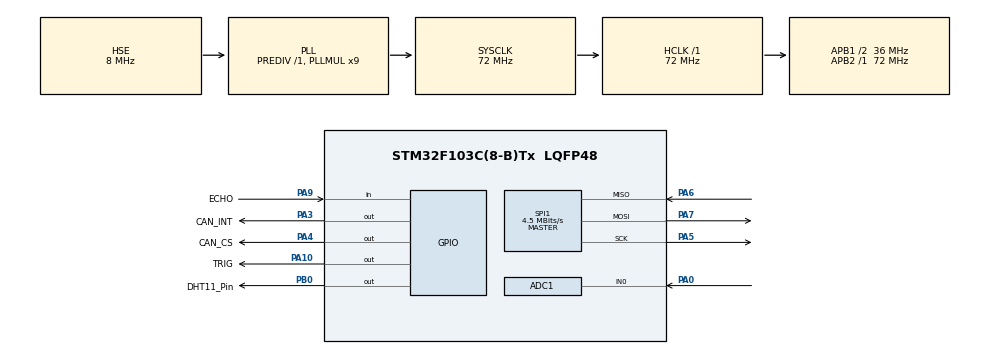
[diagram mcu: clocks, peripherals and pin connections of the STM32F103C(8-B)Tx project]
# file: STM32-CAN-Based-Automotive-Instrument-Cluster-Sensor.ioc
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ADC1.Channel-0\#ChannelRegularConversion=ADC_CHANNEL_0
ADC1.NbrOfConversionFlag=1
ADC1.Rank-0\#ChannelRegularConversion=1
ADC1.SamplingTime-0\#ChannelRegularConversion=ADC_SAMPLETIME_1CYCLE_5
ADC1.master=1
Mcu.Family=STM32F1
Mcu.Name=STM32F103C(8-B)Tx
Mcu.Package=LQFP48
NVIC.PriorityGroup=NVIC_PRIORITYGROUP_4
PA0-WKUP.Signal=ADCx_IN0
PA10.GPIO_Label=TRIG
PA10.Signal=GPIO_Output
PA13.Mode=Serial_Wire
PA13.Signal=SYS_JTMS-SWDIO
PA14.Mode=Serial_Wire
PA14.Signal=SYS_JTCK-SWCLK
PA3.GPIO_Label=CAN_INT
PA3.GPIO_PuPd=GPIO_PULLUP
PA3.Signal=GPIO_Output
PA4.GPIO_Label=CAN_CS
PA4.GPIO_Speed=GPIO_SPEED_FREQ_HIGH
PA4.Signal=GPIO_Output
PA5.Mode=Full_Duplex_Master
PA5.Signal=SPI1_SCK
PA6.Mode=Full_Duplex_Master
PA6.Signal=SPI1_MISO
PA7.Mode=Full_Duplex_Master
PA7.Signal=SPI1_MOSI
PA9.GPIO_Label=ECHO
PA9.Signal=GPIO_Input
PB0.GPIO_Label=DHT11_Pin
PB0.Signal=GPIO_Output
PD0-OSC_IN.Mode=HSE-External-Oscillator
PD0-OSC_IN.Signal=RCC_OSC_IN
PD1-OSC_OUT.Mode=HSE-External-Oscillator
PD1-OSC_OUT.Signal=RCC_OSC_OUT
ProjectManager.HeapSize=0x200
ProjectManager.StackSize=0x400
ProjectManager.TargetToolchain=STM32CubeIDE
RCC.AHBFreq_Value=72000000
RCC.APB1CLKDivider=RCC_HCLK_DIV2
RCC.APB1Freq_Value=36000000
RCC.APB1TimFreq_Value=72000000
RCC.APB2Freq_Value=72000000
RCC.APB2TimFreq_Value=72000000
RCC.HCLKFreq_Value=72000000
RCC.PLLMUL=RCC_PLL_MUL9
RCC.PLLSourceVirtual=RCC_PLLSOURCE_HSE
RCC.SYSCLKFreq_VALUE=72000000
RCC.SYSCLKSource=RCC_SYSCLKSOURCE_PLLCLK
RCC.USBFreq_Value=72000000
SH.ADCx_IN0.0=ADC1_IN0,IN0
SPI1.BaudRatePrescaler=SPI_BAUDRATEPRESCALER_16
SPI1.CalculateBaudRate=4.5 MBits/s
SPI1.Direction=SPI_DIRECTION_2LINES
SPI1.Mode=SPI_MODE_MASTER
SPI1.VirtualType=VM_MASTER
TIM1.Prescaler=71
VP_TIM1_VS_ClockSourceINT.Mode=Internal
board=custom

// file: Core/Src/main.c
/* USER CODE BEGIN Header */
/**
  ******************************************************************************
  * @file           : main.c
  * @brief          : Main program body
  ******************************************************************************
  * @attention
  *
  * Copyright (c) 2026 STMicroelectronics.
  * All rights reserved.
  *
  * This software is licensed under terms that can be found in the LICENSE file
  * in the root directory of this software component.
  * If no LICENSE file comes with this software, it is provided AS-IS.
  *
  ******************************************************************************
  */
/* USER CODE END Header */
#include "main.h"
#include "adc.h"
#include "spi.h"
#include "tim.h"
#include "gpio.h"

/* USER CODE BEGIN Includes */
#include "mcp2515.h"
#include "dht11.h"
#include "hcsr04.h"
#include "adc.h"
/* USER CODE END Includes */

/* USER CODE BEGIN PV */
uint16_t simSpeed = 0;  // giữ giả lập tạm cho speed
uint32_t lastDHTReadTime = 0;
volatile uint32_t adc_debug = 0;
volatile uint16_t speed_debug = 0;

/* USER CODE END PV */

void SystemClock_Config(void);
/* USER CODE BEGIN PFP */
void DWT_Delay_Init(void);
void DWT_Delay_us(uint32_t us);
uint16_t ReadPotentiometer_Speed(void);
/* USER CODE END PFP */

int main(void)
{

  /* MCU Configuration--------------------------------------------------------*/

  /* Reset of all peripherals, Initializes the Flash interface and the Systick. */
  HAL_Init();

  /* Configure the system clock */
  SystemClock_Config();

  /* Initialize all configured peripherals */
  MX_GPIO_Init();
  MX_SPI1_Init();
  MX_TIM1_Init();
  MX_ADC1_Init();
  /* USER CODE BEGIN 2 */
  DWT_Delay_Init();
  __HAL_RCC_GPIOC_CLK_ENABLE();
  GPIO_InitTypeDef gpioLed = {0};
  gpioLed.Pin = GPIO_PIN_13;
  gpioLed.Mode = GPIO_MODE_OUTPUT_PP;
  gpioLed.Pull = GPIO_NOPULL;
  gpioLed.Speed = GPIO_SPEED_FREQ_LOW;
  HAL_GPIO_Init(GPIOC, &gpioLed);

  HAL_Delay(300); // giữ sáng rõ 500ms để bạn chắc chắn quan sát được

  MCP2515_t canDev;
  canDev.hspi = &hspi1;
  canDev.cs_port = CAN_CS_GPIO_Port;
  canDev.cs_pin = CAN_CS_Pin;
  MCP2515_Init(&canDev);

  HAL_ADCEx_Calibration_Start(&hadc1);
  HAL_ADC_Start(&hadc1);

  CAN_Frame_t speedFrame, distFrame, tempHumiFrame;
  uint32_t lastSendTime = 0;
  uint32_t lastDistanceReadTime = 0;
  uint16_t distance = 999;

  /* USER CODE END 2 */

  /* Infinite loop */
  while (1)
  {

    /* USER CODE BEGIN 3 */

	  uint16_t speed = ReadPotentiometer_Speed();

	  if (HAL_GetTick() - lastDistanceReadTime >= 100)
	  	  {
	      	  lastDistanceReadTime = HAL_GetTick();
	          uint16_t newDist = HCSR04_ReadDistance();
	          if (newDist > 0 && newDist <= 400)
	          	  {
	                  distance = newDist;
	              }
	          if (distance < 30)
	        	  HAL_GPIO_WritePin(GPIOC, GPIO_PIN_13, GPIO_PIN_RESET); // sáng
	          else
	        	  HAL_GPIO_WritePin(GPIOC, GPIO_PIN_13, GPIO_PIN_SET);   // tắt
	      }

	      // ---- Temp/Humi: đọc thật từ DHT11, nhưng CHỈ mỗi 2 giây (cảm biến rất chậm) ----
	      static int8_t  temp = 25;
	      static uint8_t humi = 60;
	      if (HAL_GetTick() - lastDHTReadTime >= 2000)
	      {
	          lastDHTReadTime = HAL_GetTick();
	          int8_t newTemp;
	          uint8_t newHumi;
	          if (DHT11_Read(&newTemp, &newHumi))
	          {
	              temp = newTemp;
	              humi = newHumi;
	          }
	          // Nếu đọc lỗi (checksum sai/timeout) -> giữ nguyên giá trị cũ, không cập nhật giá trị rác
	      }

	      // ---- Gửi CAN mỗi 100ms như cũ ----
	      if (HAL_GetTick() - lastSendTime >= 100)
	      {
	          lastSendTime = HAL_GetTick();

	          speedFrame.id = 0x100;
	          speedFrame.dlc = 2;
	          speedFrame.data[0] = speed >> 8;
	          speedFrame.data[1] = speed & 0xFF;
	          MCP2515_SendFrame(&canDev, &speedFrame);

	          distFrame.id = 0x101;
	          distFrame.dlc = 2;
	          distFrame.data[0] = distance >> 8;
	          distFrame.data[1] = distance & 0xFF;
	          MCP2515_SendFrame(&canDev, &distFrame);

	          tempHumiFrame.id = 0x102;
	          tempHumiFrame.dlc = 2;
	          tempHumiFrame.data[0] = (uint8_t)temp;
	          tempHumiFrame.data[1] = humi;
	          MCP2515_SendFrame(&canDev, &tempHumiFrame);

	      }

  }
  /* USER CODE END 3 */
}

void SystemClock_Config(void)
{
  RCC_OscInitTypeDef RCC_OscInitStruct = {0};
  RCC_ClkInitTypeDef RCC_ClkInitStruct = {0};
  RCC_PeriphCLKInitTypeDef PeriphClkInit = {0};

  /** Initializes the RCC Oscillators according to the specified parameters
  * in the RCC_OscInitTypeDef structure.
  */
  RCC_OscInitStruct.OscillatorType = RCC_OSCILLATORTYPE_HSE;
  RCC_OscInitStruct.HSEState = RCC_HSE_ON;
  RCC_OscInitStruct.HSEPredivValue = RCC_HSE_PREDIV_DIV1;
  RCC_OscInitStruct.HSIState = RCC_HSI_ON;
  RCC_OscInitStruct.PLL.PLLState = RCC_PLL_ON;
  RCC_OscInitStruct.PLL.PLLSource = RCC_PLLSOURCE_HSE;
  RCC_OscInitStruct.PLL.PLLMUL = RCC_PLL_MUL9;
  if (HAL_RCC_OscConfig(&RCC_OscInitStruct) != HAL_OK)
  {
    Error_Handler();
  }

  /** Initializes the CPU, AHB and APB buses clocks
  */
  RCC_ClkInitStruct.ClockType = RCC_CLOCKTYPE_HCLK|RCC_CLOCKTYPE_SYSCLK
                              |RCC_CLOCKTYPE_PCLK1|RCC_CLOCKTYPE_PCLK2;
  RCC_ClkInitStruct.SYSCLKSource = RCC_SYSCLKSOURCE_PLLCLK;
  RCC_ClkInitStruct.AHBCLKDivider = RCC_SYSCLK_DIV1;
  RCC_ClkInitStruct.APB1CLKDivider = RCC_HCLK_DIV2;
  RCC_ClkInitStruct.APB2CLKDivider = RCC_HCLK_DIV1;

  if (HAL_RCC_ClockConfig(&RCC_ClkInitStruct, FLASH_LATENCY_2) != HAL_OK)
  {
    Error_Handler();
  }
  PeriphClkInit.PeriphClockSelection = RCC_PERIPHCLK_ADC;
  PeriphClkInit.AdcClockSelection = RCC_ADCPCLK2_DIV2;
  if (HAL_RCCEx_PeriphCLKConfig(&PeriphClkInit) != HAL_OK)
  {
    Error_Handler();
  }
}

/* USER CODE BEGIN 4 */
void DWT_Delay_Init(void)
{
    CoreDebug->DEMCR |= CoreDebug_DEMCR_TRCENA_Msk;
    DWT->CYCCNT = 0;
    DWT->CTRL |= DWT_CTRL_CYCCNTENA_Msk;
}

void DWT_Delay_us(uint32_t us)
{
    uint32_t start = DWT->CYCCNT;
    uint32_t ticks = us * (SystemCoreClock / 1000000);
    while ((DWT->CYCCNT - start) < ticks);
}

uint16_t ReadPotentiometer_Speed(void)
{
    HAL_ADC_Start(&hadc1);

    if (HAL_ADC_PollForConversion(&hadc1, 10) != HAL_OK)
    {
        HAL_ADC_Stop(&hadc1);
        return 0;
    }

    adc_debug = HAL_ADC_GetValue(&hadc1);

    HAL_ADC_Stop(&hadc1);

    speed_debug = (uint16_t)((adc_debug * 180U) / 4095U);

    return speed_debug;
}
/* USER CODE END 4 */

void Error_Handler(void)
{
  __disable_irq();
  while (1)
  {
  }
}
